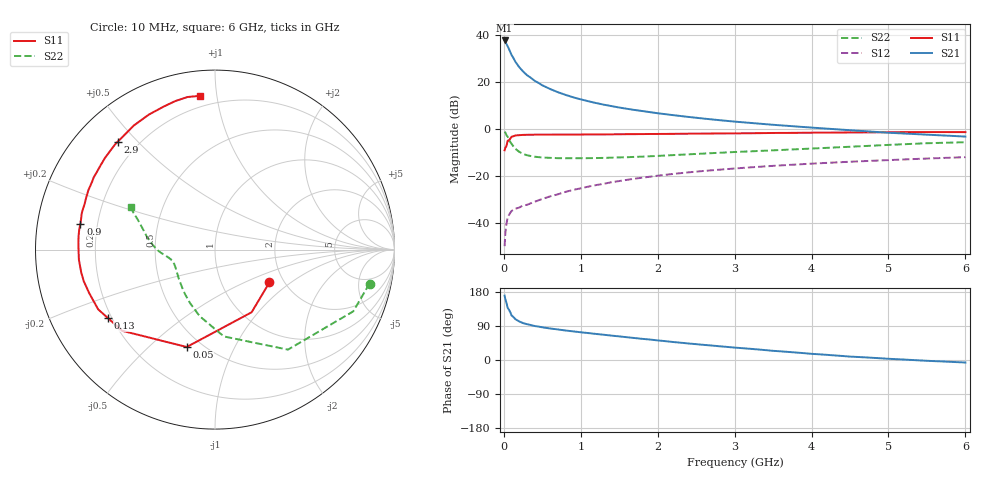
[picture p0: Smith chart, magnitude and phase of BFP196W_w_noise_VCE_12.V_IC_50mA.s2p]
! (c) 2017  Infineon Technologies AG, Munich
! Infineon Technologies  Discrete & RF Semiconductors
! BFP196W
! VCE =  12. V,  IC =  50 mA
! Common Emitter S-Parameters:  Jan 2017
# GHz  S  MA  R  50
!  f  S11  S21  S12  S22
! GHz  MAG  ANG  MAG  ANG  MAG  ANG  MAG  ANG
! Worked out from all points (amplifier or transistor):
!   77 points, 10 MHz to 6 GHz, reference 50 ohm
!   highest |S21| = 37.5 dB at 10 MHz (marker M1)
!   |S21| within 3 dB of that: start of sweep to 57.71 MHz
!   unconditionally stable (mu >= 1): 721.9 MHz to 3.302 GHz
!   at 130 MHz: K = 0.40, MSG = 31.9 dB, |S12| = -34.1 dB
!   at 2.2 GHz: K = 1.04, MAG = 11.2 dB, |S12| = -19.0 dB
!   at 6 GHz: K = 0.92, MSG = 4.4 dB, |S12| = -11.9 dB
!   lowest NFmin = 1.36 dB at 450 MHz
!   S11 on the Smith chart (normalised r, x): 10 MHz: 1.69, -0.71; 50 MHz: 0.42, -0.66; 130 MHz: 0.18, -0.28; 900 MHz: 0.14, +0.09; 2.9 GHz: 0.13, +0.44; 6 GHz: 0.14, +0.90
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0.01  0.3543 -31.1  75.38 169.9  0.0033 63.3  0.8817 -12.4
0.02  0.4044 -59.7  71.54 159.9  0.0063 68.1  0.8435 -24.1
0.05  0.565 -106.2  56.7 137.5  0.0136 53.4  0.6898 -53.9
0.1  0.6869 -138.8  37.2 117.5  0.0184 41.7  0.4862 -84.2
0.13  0.7083 -147.5  30.75 112.4  0.0197 40.6  0.4174 -94.3
0.15  0.7311 -152.9  26.64 107.7  0.0205 39.9  0.3809 -102.9
0.2  0.7418 -161.0  20.48 101.7  0.0217 40.6  0.3294 -114.9
0.25  0.752 -166.4  16.6 97.4  0.0241 42.5  0.2981 -124.3
0.3  0.7561 -170.2  13.9 94.5  0.0248 44.2  0.2792 -131.0
0.4  0.7604 -175.8  10.55 89.7  0.0287 49.5  0.2597 -140.7
0.5  0.7603 -179.7  8.457 86.3  0.0331 51.5  0.2494 -147.0
0.6  0.7623 176.9  7.076 83.2  0.0374 54.4  0.2455 -151.5
0.7  0.7638 174.3  6.062 80.7  0.0413 57.2  0.2418 -154.8
0.9  0.7633 169.1  4.711 75.5  0.0513 59.4  0.2411 -159.1
1.1  0.7695 164.8  3.878 71.0  0.0604 60.6  0.242 -162.2
1.5  0.7756 156.8  2.858 62.3  0.0792 60.0  0.2505 -166.9
2.1  0.7891 145.4  2.066 49.7  0.1073 57.1  0.2751 -172.6
2.9  0.8092 132.1  1.49 34.6  0.1418 51.1  0.3202 -179.5
3.1  0.8126 129.1  1.394 31.2  0.15 49.5  0.3315 178.6
4.1  0.8386 114.8  1.047 15.0  0.1885 41.7  0.3928 168.1
5.1  0.8577 104.0  0.82 2.2  0.2234 34.0  0.4692 158.1
6  0.861 95.5  0.693 -6.7  0.2537 27.1  0.5264 152.9
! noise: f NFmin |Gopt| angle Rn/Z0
0.45  1.36  0.51  -177  0.05
0.9  1.48  0.55  -171  0.07
1.9  2.3  0.69  -149  0.16
2.4  2.7  0.73  -144  0.26
